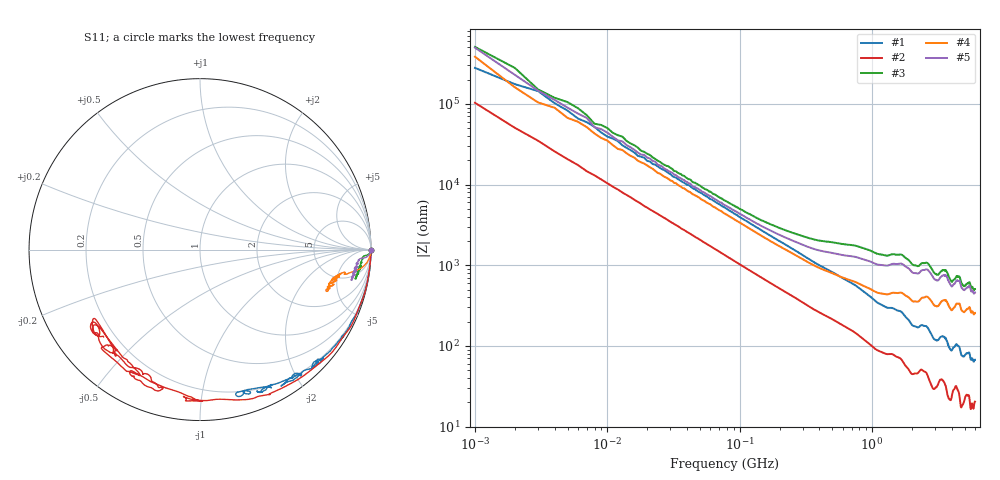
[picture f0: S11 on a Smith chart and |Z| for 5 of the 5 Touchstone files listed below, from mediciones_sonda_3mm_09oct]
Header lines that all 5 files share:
! COPPER MOUNTAIN TECHNOLOGIES, R60, 23103002, 24.3.3/3.0
! Data: Format [Calibration Info]
! Frequency		S11: Mag/Ang RO
# HZ S MA R 50
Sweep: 1 MHz to 6 GHz
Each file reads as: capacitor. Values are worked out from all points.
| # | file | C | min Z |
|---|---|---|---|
| 1 | acetona_sonda_3mm_9oct.s1p | 390 fF | 63.7 ohm |
| 2 | agua21grados_sonda_3mm_9oct.s1p | 1.53 pF | 16.5 ohm |
| 3 | butilico_sonda_3mm_9oct.s1p | 323 fF | 491 ohm |
| 4 | etilico_sonda_3mm_9oct.s1p | 463 fF | 246 ohm |
| 5 | isopropilico_sonda_3mm_9oct.s1p | 364 fF | 444 ohm |
